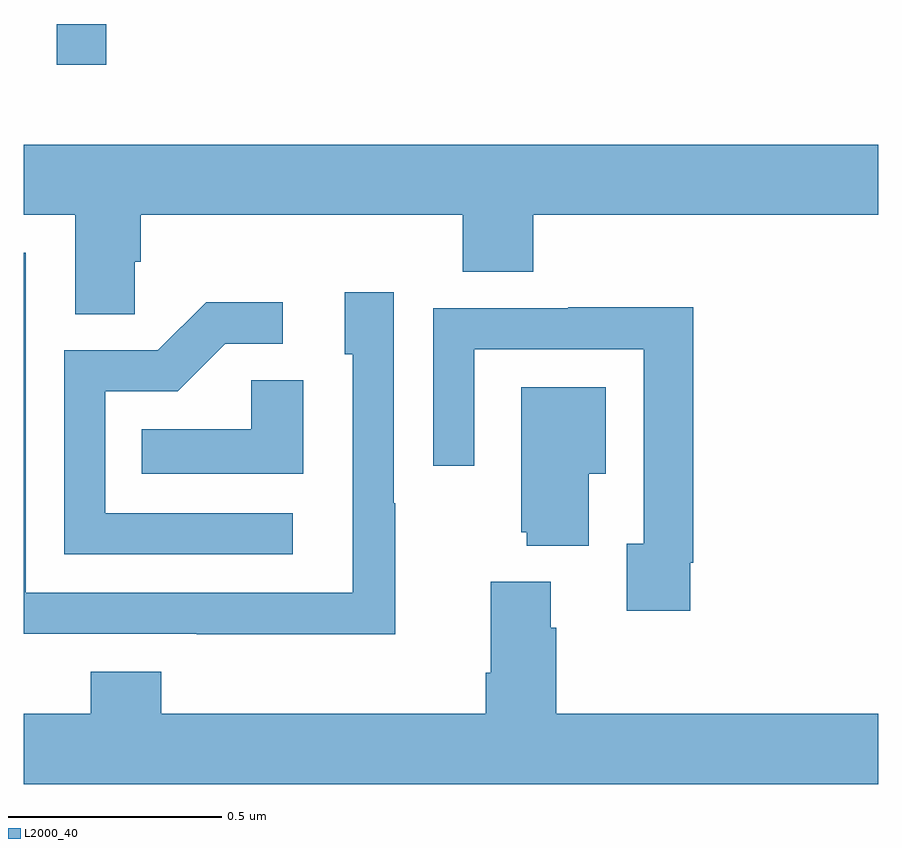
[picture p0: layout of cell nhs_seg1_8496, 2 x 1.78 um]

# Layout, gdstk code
import gdstk
lib = gdstk.Library(unit=1e-6, precision=1e-09)
def R(c, l, rs):  # rectangles x0, y0, x1, y1
    for r in rs: c.add(gdstk.rectangle(r[:2], r[2:], *l))
def P(c, l, *ps):  # polygons
    for p in ps: c.add(gdstk.Polygon(p, *l))
L2000_40 = (2000, 40)

nhs_seg1_8496 = lib.new_cell('nhs_seg1_8496')
R(nhs_seg1_8496, L2000_40, [(217.077,532.104,217.193,532.199)])
P(nhs_seg1_8496, L2000_40, [(217.26,531.643),(217.274,531.643),(217.274,531.752),(218.027,531.752),(218.027,531.619),(218.192,531.619),(218.192,531.752),(219,531.752),(219,531.916),(217,531.916),(217,531.752),(217.121,531.752),(217.121,531.52),(217.26,531.52)],
  [(217.869,531.077),(217.866,531.077),(217.866,531.571),(217.751,531.571),(217.751,531.426),(217.77,531.426),(217.77,530.868),(217.005,530.868),(217.005,531.663),(217,531.663),(217,530.772),(217.405,530.772),(217.405,530.771),(217.869,530.771)],
  [(217.63,531.054),(217.191,531.054),(217.191,531.339),(217.36,531.339),(217.471,531.45),(217.606,531.45),(217.606,531.548),(217.427,531.548),(217.314,531.435),(217.095,531.435),(217.095,530.958),(217.63,530.958)],
  [(218.56,530.938),(218.567,530.938),(218.567,531.536),(218.275,531.536),(218.275,531.534),(217.959,531.534),(217.959,531.165),(218.055,531.165),(218.055,531.438),(218.451,531.438),(218.451,530.982),(218.411,530.982),(218.411,530.826),(218.56,530.826)],
  [(217.654,531.365),(217.533,531.365),(217.533,531.25),(217.276,531.25),(217.276,531.146),(217.654,531.146)],
  [(218.323,531.146),(218.362,531.146),(218.362,531.349),(218.165,531.349),(218.165,531.009),(218.177,531.009),(218.177,530.978),(218.323,530.978)],
  [(219,530.584),(218.246,530.584),(218.246,530.786),(218.233,530.786),(218.233,530.893),(218.093,530.893),(218.093,530.68),(218.081,530.68),(218.081,530.584),(217.322,530.584),(217.322,530.683),(217.157,530.683),(217.157,530.584),(217,530.584),(217,530.42),(219,530.42)])

lib.write_gds('nhs_seg1_8496.gds')
